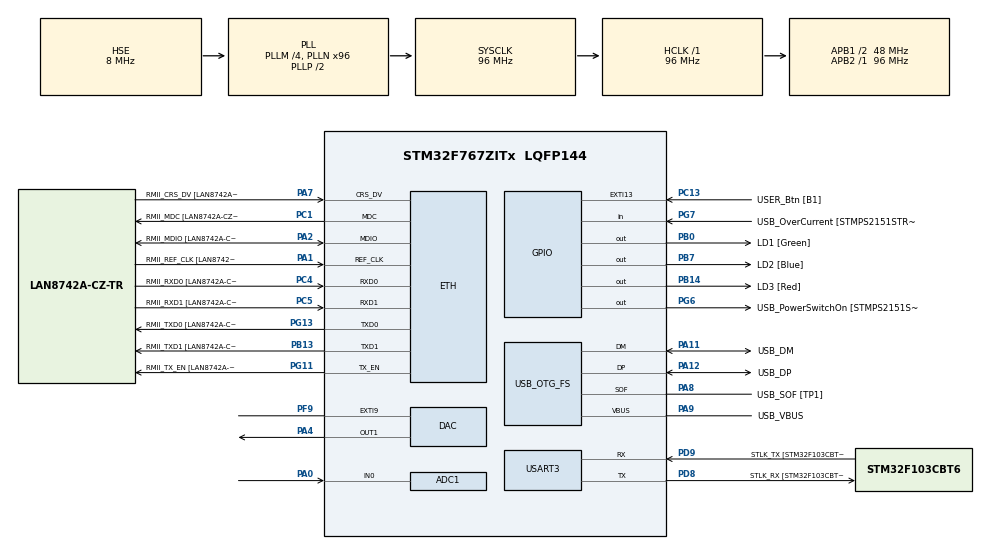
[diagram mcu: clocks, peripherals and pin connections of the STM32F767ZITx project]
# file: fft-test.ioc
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ADC1.Channel-0\#ChannelRegularConversion=ADC_CHANNEL_0
ADC1.ContinuousConvMode=DISABLE
ADC1.DMAContinuousRequests=ENABLE
ADC1.ExternalTrigConv=ADC_EXTERNALTRIGCONV_T2_TRGO
ADC1.InjNumberOfConversion=0
ADC1.NbrOfConversionFlag=1
ADC1.Rank-0\#ChannelRegularConversion=1
ADC1.SamplingTime-0\#ChannelRegularConversion=ADC_SAMPLETIME_3CYCLES
ADC1.ScanConvMode=ADC_SCAN_ENABLE
ADC1.master=1
DAC.DAC_Trigger=DAC_TRIGGER_T2_TRGO
Dma.ADC1.1.Direction=DMA_PERIPH_TO_MEMORY
Dma.ADC1.1.FIFOMode=DMA_FIFOMODE_DISABLE
Dma.ADC1.1.Instance=DMA2_Stream0
Dma.ADC1.1.MemDataAlignment=DMA_MDATAALIGN_HALFWORD
Dma.ADC1.1.MemInc=DMA_MINC_ENABLE
Dma.ADC1.1.Mode=DMA_CIRCULAR
Dma.ADC1.1.PeriphDataAlignment=DMA_PDATAALIGN_HALFWORD
Dma.ADC1.1.PeriphInc=DMA_PINC_DISABLE
Dma.ADC1.1.Priority=DMA_PRIORITY_LOW
Dma.DAC1.0.Direction=DMA_MEMORY_TO_PERIPH
Dma.DAC1.0.FIFOMode=DMA_FIFOMODE_DISABLE
Dma.DAC1.0.Instance=DMA1_Stream5
Dma.DAC1.0.MemDataAlignment=DMA_MDATAALIGN_HALFWORD
Dma.DAC1.0.MemInc=DMA_MINC_ENABLE
Dma.DAC1.0.Mode=DMA_CIRCULAR
Dma.DAC1.0.PeriphDataAlignment=DMA_PDATAALIGN_HALFWORD
Dma.DAC1.0.PeriphInc=DMA_PINC_DISABLE
Dma.DAC1.0.Priority=DMA_PRIORITY_LOW
Dma.Request0=DAC1
Dma.Request1=ADC1
Dma.Request2=USART3_TX
Dma.USART3_TX.2.Direction=DMA_MEMORY_TO_PERIPH
Dma.USART3_TX.2.FIFOMode=DMA_FIFOMODE_DISABLE
Dma.USART3_TX.2.Instance=DMA1_Stream3
Dma.USART3_TX.2.MemDataAlignment=DMA_MDATAALIGN_BYTE
Dma.USART3_TX.2.MemInc=DMA_MINC_ENABLE
Dma.USART3_TX.2.Mode=DMA_NORMAL
Dma.USART3_TX.2.PeriphDataAlignment=DMA_PDATAALIGN_BYTE
Dma.USART3_TX.2.PeriphInc=DMA_PINC_DISABLE
Dma.USART3_TX.2.Priority=DMA_PRIORITY_LOW
ETH.MediaInterface=HAL_ETH_RMII_MODE
ETH.PHY_Name=LAN8742A_PHY_ADDRESS
ETH.PHY_Value=0
ETH.PhyAddress=0
Mcu.Family=STM32F7
Mcu.Name=STM32F767ZITx
Mcu.Package=LQFP144
NVIC.DMA1_Stream3_IRQn=true\:0\:0\:false\:false\:true\:false\:true\:true
NVIC.DMA1_Stream5_IRQn=true\:0\:0\:false\:false\:true\:false\:true\:true
NVIC.DMA2_Stream0_IRQn=true\:0\:0\:false\:false\:true\:false\:true\:true
NVIC.PriorityGroup=NVIC_PRIORITYGROUP_4
NVIC.USART3_IRQn=true\:0\:0\:false\:false\:true\:true\:true\:true
PA0/WKUP.Signal=ADCx_IN0
PA1.GPIO_Label=RMII_REF_CLK [LAN8742A-CZ-TR_REFCLK0]
PA1.Mode=RMII
PA1.Signal=ETH_REF_CLK
PA10.GPIO_Label=USB_ID
PA10.Signal=USB_OTG_FS_ID
PA11.GPIO_Label=USB_DM
PA11.Mode=Device_Only
PA11.Signal=USB_OTG_FS_DM
PA12.GPIO_Label=USB_DP
PA12.Mode=Device_Only
PA12.Signal=USB_OTG_FS_DP
PA13.GPIO_Label=TMS
PA13.Mode=Serial_Wire
PA13.Signal=SYS_JTMS-SWDIO
PA14.GPIO_Label=TCK
PA14.Mode=Serial_Wire
PA14.Signal=SYS_JTCK-SWCLK
PA2.GPIO_Label=RMII_MDIO [LAN8742A-CZ-TR_MDIO]
PA2.Mode=RMII
PA2.Signal=ETH_MDIO
PA4.Signal=COMP_DAC1_group
PA7.GPIO_Label=RMII_CRS_DV [LAN8742A-CZ-TR_CRS_DV]
PA7.Mode=RMII
PA7.Signal=ETH_CRS_DV
PA8.GPIO_Label=USB_SOF [TP1]
PA8.Mode=Activate_SOF_FS
PA8.Signal=USB_OTG_FS_SOF
PA9.GPIO_Label=USB_VBUS
PA9.Mode=Activate_VBUS
PA9.Signal=USB_OTG_FS_VBUS
PB0.GPIO_Label=LD1 [Green]
PB0.Signal=GPIO_Output
PB13.GPIO_Label=RMII_TXD1 [LAN8742A-CZ-TR_TXD1]
PB13.Mode=RMII
PB13.Signal=ETH_TXD1
PB14.GPIO_Label=LD3 [Red]
PB14.Signal=GPIO_Output
PB3.GPIO_Label=SWO
PB3.Signal=SYS_JTDO-SWO
PB7.GPIO_Label=LD2 [Blue]
PB7.Signal=GPIO_Output
PC1.GPIO_Label=RMII_MDC [LAN8742A-CZ-TR_MDC]
PC1.Mode=RMII
PC1.Signal=ETH_MDC
PC13.GPIO_Label=USER_Btn [B1]
PC13.Signal=GPXTI13
PC14/OSC32_IN.Mode=LSE-External-Oscillator
PC14/OSC32_IN.Signal=RCC_OSC32_IN
PC15/OSC32_OUT.Mode=LSE-External-Oscillator
PC15/OSC32_OUT.Signal=RCC_OSC32_OUT
PC4.GPIO_Label=RMII_RXD0 [LAN8742A-CZ-TR_RXD0]
PC4.Mode=RMII
PC4.Signal=ETH_RXD0
PC5.GPIO_Label=RMII_RXD1 [LAN8742A-CZ-TR_RXD1]
PC5.Mode=RMII
PC5.Signal=ETH_RXD1
PD8.GPIO_Label=STLK_RX [STM32F103CBT6_PA3]
PD8.Mode=Asynchronous
PD8.Signal=USART3_TX
PD9.GPIO_Label=STLK_TX [STM32F103CBT6_PA2]
PD9.Mode=Asynchronous
PD9.Signal=USART3_RX
PF9.Signal=GPXTI9
PG11.GPIO_Label=RMII_TX_EN [LAN8742A-CZ-TR_TXEN]
PG11.Mode=RMII
PG11.Signal=ETH_TX_EN
PG13.GPIO_Label=RMII_TXD0 [LAN8742A-CZ-TR_TXD0]
PG13.Mode=RMII
PG13.Signal=ETH_TXD0
PG6.GPIO_Label=USB_PowerSwitchOn [STMPS2151STR_EN]
PG6.Signal=GPIO_Output
PG7.GPIO_Label=USB_OverCurrent [STMPS2151STR_FAULT]
PG7.Signal=GPIO_Input
PH0/OSC_IN.GPIO_Label=MCO [STM32F103CBT6_PA8]
PH0/OSC_IN.Mode=HSE-External-Clock-Source
PH0/OSC_IN.Signal=RCC_OSC_IN
PH1/OSC_OUT.Mode=HSE-External-Clock-Source
PH1/OSC_OUT.Signal=RCC_OSC_OUT
ProjectManager.HeapSize=0x200
ProjectManager.StackSize=0x400
ProjectManager.TargetToolchain=STM32CubeIDE
RCC.48MHZClocksFreq_Value=24000000
RCC.AHBFreq_Value=96000000
RCC.APB1CLKDivider=RCC_HCLK_DIV2
RCC.APB1Freq_Value=48000000
RCC.APB1TimFreq_Value=96000000
RCC.APB2Freq_Value=96000000
RCC.APB2TimFreq_Value=96000000
RCC.CortexFreq_Value=96000000
RCC.HCLKFreq_Value=96000000
RCC.HSE_VALUE=8000000
RCC.HSI_VALUE=16000000
RCC.PLLM=4
RCC.PLLMUL=RCC_PLL_MUL9
RCC.PLLN=96
RCC.PLLQ=4
RCC.PRESCALERUSB=RCC_USBCLKSOURCE_PLL_DIV1_5
RCC.SYSCLKFreq_VALUE=96000000
RCC.SYSCLKSource=RCC_SYSCLKSOURCE_PLLCLK
RCC.SYSCLKSourceVirtual=RCC_SYSCLKSOURCE_PLLCLK
RCC.USBFreq_Value=48000000
RCC.VCOOutputFreq_Value=192000000
SH.ADCx_IN0.0=ADC1_IN0,IN0
SH.COMP_DAC1_group.0=DAC_OUT1,DAC_OUT1
TIM2.Period=23
TIM2.Prescaler=99
TIM2.TIM_MasterOutputTrigger=TIM_TRGO_UPDATE
USART3.VirtualMode-Asynchronous=VM_ASYNC
USB_OTG_FS.VirtualMode=Device_Only
VP_TIM2_VS_ClockSourceINT.Mode=Internal
board=NUCLEO-F767ZI

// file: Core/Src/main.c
/* USER CODE BEGIN Header */
/**
  ******************************************************************************
  * @file           : main.c
  * @brief          : Main program body
  ******************************************************************************
  * @attention
  *
  * Copyright (c) 2025 STMicroelectronics.
  * All rights reserved.
  *
  * This software is licensed under terms that can be found in the LICENSE file
  * in the root directory of this software component.
  * If no LICENSE file comes with this software, it is provided AS-IS.
  *
  ******************************************************************************
  */
/* USER CODE END Header */
#include "main.h"
#include "string.h"

/* USER CODE BEGIN Includes */
#include "app_config.h"
#include "globals.h"

#ifdef MODE_RFFT
#include "mode_rfft.h"
#endif
#ifdef MODE_CFFT
#include "mode_cfft.h"
#endif
#ifdef MODE_CEPSTRUM
#include "mode_cepstrum.h"
#endif
#ifdef MODE_HILBERT
#include "mode_hilbert.h"
#endif
/* USER CODE END Includes */

/* USER CODE BEGIN PM */
#define PUTCHAR_PROTOTYPE int __io_putchar(int ch)
/* USER CODE END PM */

#if defined ( __ICCARM__ ) /*!< IAR Compiler */
#pragma location=0x2007c000
ETH_DMADescTypeDef  DMARxDscrTab[ETH_RX_DESC_CNT]; /* Ethernet Rx DMA Descriptors */
#pragma location=0x2007c0a0
ETH_DMADescTypeDef  DMATxDscrTab[ETH_TX_DESC_CNT]; /* Ethernet Tx DMA Descriptors */

#elif defined ( __CC_ARM )  /* MDK ARM Compiler */

__attribute__((at(0x2007c000))) ETH_DMADescTypeDef  DMARxDscrTab[ETH_RX_DESC_CNT]; /* Ethernet Rx DMA Descriptors */
__attribute__((at(0x2007c0a0))) ETH_DMADescTypeDef  DMATxDscrTab[ETH_TX_DESC_CNT]; /* Ethernet Tx DMA Descriptors */

#elif defined ( __GNUC__ ) /* GNU Compiler */

ETH_DMADescTypeDef DMARxDscrTab[ETH_RX_DESC_CNT] __attribute__((section(".RxDecripSection"))); /* Ethernet Rx DMA Descriptors */
ETH_DMADescTypeDef DMATxDscrTab[ETH_TX_DESC_CNT] __attribute__((section(".TxDecripSection")));   /* Ethernet Tx DMA Descriptors */
#endif

ETH_TxPacketConfig TxConfig;

ADC_HandleTypeDef hadc1;
DMA_HandleTypeDef hdma_adc1;

DAC_HandleTypeDef hdac;
DMA_HandleTypeDef hdma_dac1;

ETH_HandleTypeDef heth;

TIM_HandleTypeDef htim2;

UART_HandleTypeDef huart3;
DMA_HandleTypeDef hdma_usart3_tx;

PCD_HandleTypeDef hpcd_USB_OTG_FS;

void SystemClock_Config(void);
static void MX_GPIO_Init(void);
static void MX_DMA_Init(void);
static void MX_ETH_Init(void);
static void MX_USART3_UART_Init(void);
static void MX_USB_OTG_FS_PCD_Init(void);
static void MX_DAC_Init(void);
static void MX_ADC1_Init(void);
static void MX_TIM2_Init(void);
/* USER CODE BEGIN PFP */
PUTCHAR_PROTOTYPE
{
  HAL_UART_Transmit(&huart3, (uint8_t *)&ch, 1, HAL_MAX_DELAY);
  return ch;
}
/* USER CODE END PFP */

int main(void)
{

  /* MCU Configuration--------------------------------------------------------*/

  /* Reset of all peripherals, Initializes the Flash interface and the Systick. */
  HAL_Init();

  /* Configure the system clock */
  SystemClock_Config();

  /* Initialize all configured peripherals */
  MX_GPIO_Init();
  MX_DMA_Init();
  MX_ETH_Init();
  MX_USART3_UART_Init();
  MX_USB_OTG_FS_PCD_Init();
  MX_DAC_Init();
  MX_ADC1_Init();
  MX_TIM2_Init();
  /* USER CODE BEGIN 2 */

#ifdef MODE_RFFT
  RFFT_Init();
#endif
#ifdef MODE_CFFT
  CFFT_Init();
#endif
#ifdef MODE_CEPSTRUM
  Cepstrum_Init();
#endif
#ifdef MODE_HILBERT
  Hilbert_Init();
#endif

  /* USER CODE END 2 */

  /* Infinite loop */
  while (1)
  {

  }
}

void SystemClock_Config(void)
{
  RCC_OscInitTypeDef RCC_OscInitStruct = {0};
  RCC_ClkInitTypeDef RCC_ClkInitStruct = {0};

  /** Configure LSE Drive Capability
  */
  HAL_PWR_EnableBkUpAccess();

  /** Configure the main internal regulator output voltage
  */
  __HAL_RCC_PWR_CLK_ENABLE();
  __HAL_PWR_VOLTAGESCALING_CONFIG(PWR_REGULATOR_VOLTAGE_SCALE3);

  /** Initializes the RCC Oscillators according to the specified parameters
  * in the RCC_OscInitTypeDef structure.
  */
  RCC_OscInitStruct.OscillatorType = RCC_OSCILLATORTYPE_HSE;
  RCC_OscInitStruct.HSEState = RCC_HSE_BYPASS;
  RCC_OscInitStruct.PLL.PLLState = RCC_PLL_ON;
  RCC_OscInitStruct.PLL.PLLSource = RCC_PLLSOURCE_HSE;
  RCC_OscInitStruct.PLL.PLLM = 4;
  RCC_OscInitStruct.PLL.PLLN = 96;
  RCC_OscInitStruct.PLL.PLLP = RCC_PLLP_DIV2;
  RCC_OscInitStruct.PLL.PLLQ = 4;
  RCC_OscInitStruct.PLL.PLLR = 2;
  if (HAL_RCC_OscConfig(&RCC_OscInitStruct) != HAL_OK)
  {
    Error_Handler();
  }

  /** Activate the Over-Drive mode
  */
  if (HAL_PWREx_EnableOverDrive() != HAL_OK)
  {
    Error_Handler();
  }

  /** Initializes the CPU, AHB and APB buses clocks
  */
  RCC_ClkInitStruct.ClockType = RCC_CLOCKTYPE_HCLK|RCC_CLOCKTYPE_SYSCLK
                              |RCC_CLOCKTYPE_PCLK1|RCC_CLOCKTYPE_PCLK2;
  RCC_ClkInitStruct.SYSCLKSource = RCC_SYSCLKSOURCE_PLLCLK;
  RCC_ClkInitStruct.AHBCLKDivider = RCC_SYSCLK_DIV1;
  RCC_ClkInitStruct.APB1CLKDivider = RCC_HCLK_DIV2;
  RCC_ClkInitStruct.APB2CLKDivider = RCC_HCLK_DIV1;

  if (HAL_RCC_ClockConfig(&RCC_ClkInitStruct, FLASH_LATENCY_3) != HAL_OK)
  {
    Error_Handler();
  }
}

static void MX_ADC1_Init(void)
{

  ADC_ChannelConfTypeDef sConfig = {0};

  /** Configure the global features of the ADC (Clock, Resolution, Data Alignment and number of conversion)
  */
  hadc1.Instance = ADC1;
  hadc1.Init.ClockPrescaler = ADC_CLOCK_SYNC_PCLK_DIV4;
  hadc1.Init.Resolution = ADC_RESOLUTION_12B;
  hadc1.Init.ScanConvMode = ADC_SCAN_ENABLE;
  hadc1.Init.ContinuousConvMode = DISABLE;
  hadc1.Init.DiscontinuousConvMode = DISABLE;
  hadc1.Init.ExternalTrigConvEdge = ADC_EXTERNALTRIGCONVEDGE_RISING;
  hadc1.Init.ExternalTrigConv = ADC_EXTERNALTRIGCONV_T2_TRGO;
  hadc1.Init.DataAlign = ADC_DATAALIGN_RIGHT;
  hadc1.Init.NbrOfConversion = 1;
  hadc1.Init.DMAContinuousRequests = ENABLE;
  hadc1.Init.EOCSelection = ADC_EOC_SINGLE_CONV;
  if (HAL_ADC_Init(&hadc1) != HAL_OK)
  {
    Error_Handler();
  }

  /** Configure for the selected ADC regular channel its corresponding rank in the sequencer and its sample time.
  */
  sConfig.Channel = ADC_CHANNEL_0;
  sConfig.Rank = ADC_REGULAR_RANK_1;
  sConfig.SamplingTime = ADC_SAMPLETIME_3CYCLES;
  if (HAL_ADC_ConfigChannel(&hadc1, &sConfig) != HAL_OK)
  {
    Error_Handler();
  }

}

static void MX_DAC_Init(void)
{

  DAC_ChannelConfTypeDef sConfig = {0};

  /** DAC Initialization
  */
  hdac.Instance = DAC;
  if (HAL_DAC_Init(&hdac) != HAL_OK)
  {
    Error_Handler();
  }

  /** DAC channel OUT1 config
  */
  sConfig.DAC_Trigger = DAC_TRIGGER_T2_TRGO;
  sConfig.DAC_OutputBuffer = DAC_OUTPUTBUFFER_ENABLE;
  if (HAL_DAC_ConfigChannel(&hdac, &sConfig, DAC_CHANNEL_1) != HAL_OK)
  {
    Error_Handler();
  }

}

static void MX_ETH_Init(void)
{

   static uint8_t MACAddr[6];

  heth.Instance = ETH;
  MACAddr[0] = 0x00;
  MACAddr[1] = 0x80;
  MACAddr[2] = 0xE1;
  MACAddr[3] = 0x00;
  MACAddr[4] = 0x00;
  MACAddr[5] = 0x00;
  heth.Init.MACAddr = &MACAddr[0];
  heth.Init.MediaInterface = HAL_ETH_RMII_MODE;
  heth.Init.TxDesc = DMATxDscrTab;
  heth.Init.RxDesc = DMARxDscrTab;
  heth.Init.RxBuffLen = 1524;

  if (HAL_ETH_Init(&heth) != HAL_OK)
  {
    Error_Handler();
  }

  memset(&TxConfig, 0 , sizeof(ETH_TxPacketConfig));
  TxConfig.Attributes = ETH_TX_PACKETS_FEATURES_CSUM | ETH_TX_PACKETS_FEATURES_CRCPAD;
  TxConfig.ChecksumCtrl = ETH_CHECKSUM_IPHDR_PAYLOAD_INSERT_PHDR_CALC;
  TxConfig.CRCPadCtrl = ETH_CRC_PAD_INSERT;

}

static void MX_TIM2_Init(void)
{

  TIM_ClockConfigTypeDef sClockSourceConfig = {0};
  TIM_MasterConfigTypeDef sMasterConfig = {0};

  htim2.Instance = TIM2;
  htim2.Init.Prescaler = 99;
  htim2.Init.CounterMode = TIM_COUNTERMODE_UP;
  htim2.Init.Period = 23;
  htim2.Init.ClockDivision = TIM_CLOCKDIVISION_DIV1;
  htim2.Init.AutoReloadPreload = TIM_AUTORELOAD_PRELOAD_DISABLE;
  if (HAL_TIM_Base_Init(&htim2) != HAL_OK)
  {
    Error_Handler();
  }
  sClockSourceConfig.ClockSource = TIM_CLOCKSOURCE_INTERNAL;
  if (HAL_TIM_ConfigClockSource(&htim2, &sClockSourceConfig) != HAL_OK)
  {
    Error_Handler();
  }
  sMasterConfig.MasterOutputTrigger = TIM_TRGO_UPDATE;
  sMasterConfig.MasterSlaveMode = TIM_MASTERSLAVEMODE_DISABLE;
  if (HAL_TIMEx_MasterConfigSynchronization(&htim2, &sMasterConfig) != HAL_OK)
  {
    Error_Handler();
  }

}

static void MX_USART3_UART_Init(void)
{

  huart3.Instance = USART3;
  huart3.Init.BaudRate = 115200;
  huart3.Init.WordLength = UART_WORDLENGTH_8B;
  huart3.Init.StopBits = UART_STOPBITS_1;
  huart3.Init.Parity = UART_PARITY_NONE;
  huart3.Init.Mode = UART_MODE_TX_RX;
  huart3.Init.HwFlowCtl = UART_HWCONTROL_NONE;
  huart3.Init.OverSampling = UART_OVERSAMPLING_16;
  huart3.Init.OneBitSampling = UART_ONE_BIT_SAMPLE_DISABLE;
  huart3.AdvancedInit.AdvFeatureInit = UART_ADVFEATURE_NO_INIT;
  if (HAL_UART_Init(&huart3) != HAL_OK)
  {
    Error_Handler();
  }

}

static void MX_USB_OTG_FS_PCD_Init(void)
{

  hpcd_USB_OTG_FS.Instance = USB_OTG_FS;
  hpcd_USB_OTG_FS.Init.dev_endpoints = 6;
  hpcd_USB_OTG_FS.Init.speed = PCD_SPEED_FULL;
  hpcd_USB_OTG_FS.Init.dma_enable = DISABLE;
  hpcd_USB_OTG_FS.Init.phy_itface = PCD_PHY_EMBEDDED;
  hpcd_USB_OTG_FS.Init.Sof_enable = ENABLE;
  hpcd_USB_OTG_FS.Init.low_power_enable = DISABLE;
  hpcd_USB_OTG_FS.Init.lpm_enable = DISABLE;
  hpcd_USB_OTG_FS.Init.vbus_sensing_enable = ENABLE;
  hpcd_USB_OTG_FS.Init.use_dedicated_ep1 = DISABLE;
  if (HAL_PCD_Init(&hpcd_USB_OTG_FS) != HAL_OK)
  {
    Error_Handler();
  }

}

static void MX_DMA_Init(void)
{

  /* DMA controller clock enable */
  __HAL_RCC_DMA1_CLK_ENABLE();
  __HAL_RCC_DMA2_CLK_ENABLE();

  /* DMA interrupt init */
  /* DMA1_Stream3_IRQn interrupt configuration */
  HAL_NVIC_SetPriority(DMA1_Stream3_IRQn, 0, 0);
  HAL_NVIC_EnableIRQ(DMA1_Stream3_IRQn);
  /* DMA1_Stream5_IRQn interrupt configuration */
  HAL_NVIC_SetPriority(DMA1_Stream5_IRQn, 0, 0);
  HAL_NVIC_EnableIRQ(DMA1_Stream5_IRQn);
  /* DMA2_Stream0_IRQn interrupt configuration */
  HAL_NVIC_SetPriority(DMA2_Stream0_IRQn, 0, 0);
  HAL_NVIC_EnableIRQ(DMA2_Stream0_IRQn);

}

static void MX_GPIO_Init(void)
{
  GPIO_InitTypeDef GPIO_InitStruct = {0};

  /* GPIO Ports Clock Enable */
  __HAL_RCC_GPIOC_CLK_ENABLE();
  __HAL_RCC_GPIOF_CLK_ENABLE();
  __HAL_RCC_GPIOH_CLK_ENABLE();
  __HAL_RCC_GPIOA_CLK_ENABLE();
  __HAL_RCC_GPIOB_CLK_ENABLE();
  __HAL_RCC_GPIOD_CLK_ENABLE();
  __HAL_RCC_GPIOG_CLK_ENABLE();

  /*Configure GPIO pin Output Level */
  HAL_GPIO_WritePin(GPIOB, LD1_Pin|LD3_Pin|LD2_Pin, GPIO_PIN_RESET);

  /*Configure GPIO pin Output Level */
  HAL_GPIO_WritePin(USB_PowerSwitchOn_GPIO_Port, USB_PowerSwitchOn_Pin, GPIO_PIN_RESET);

  /*Configure GPIO pin : USER_Btn_Pin */
  GPIO_InitStruct.Pin = USER_Btn_Pin;
  GPIO_InitStruct.Mode = GPIO_MODE_IT_RISING;
  GPIO_InitStruct.Pull = GPIO_NOPULL;
  HAL_GPIO_Init(USER_Btn_GPIO_Port, &GPIO_InitStruct);

  /*Configure GPIO pin : PF9 */
  GPIO_InitStruct.Pin = GPIO_PIN_9;
  GPIO_InitStruct.Mode = GPIO_MODE_IT_RISING;
  GPIO_InitStruct.Pull = GPIO_NOPULL;
  HAL_GPIO_Init(GPIOF, &GPIO_InitStruct);

  /*Configure GPIO pins : LD1_Pin LD3_Pin LD2_Pin */
  GPIO_InitStruct.Pin = LD1_Pin|LD3_Pin|LD2_Pin;
  GPIO_InitStruct.Mode = GPIO_MODE_OUTPUT_PP;
  GPIO_InitStruct.Pull = GPIO_NOPULL;
  GPIO_InitStruct.Speed = GPIO_SPEED_FREQ_LOW;
  HAL_GPIO_Init(GPIOB, &GPIO_InitStruct);

  /*Configure GPIO pin : USB_PowerSwitchOn_Pin */
  GPIO_InitStruct.Pin = USB_PowerSwitchOn_Pin;
  GPIO_InitStruct.Mode = GPIO_MODE_OUTPUT_PP;
  GPIO_InitStruct.Pull = GPIO_NOPULL;
  GPIO_InitStruct.Speed = GPIO_SPEED_FREQ_LOW;
  HAL_GPIO_Init(USB_PowerSwitchOn_GPIO_Port, &GPIO_InitStruct);

  /*Configure GPIO pin : USB_OverCurrent_Pin */
  GPIO_InitStruct.Pin = USB_OverCurrent_Pin;
  GPIO_InitStruct.Mode = GPIO_MODE_INPUT;
  GPIO_InitStruct.Pull = GPIO_NOPULL;
  HAL_GPIO_Init(USB_OverCurrent_GPIO_Port, &GPIO_InitStruct);

}

void Error_Handler(void)
{
  __disable_irq();
  while (1)
  {
  }
}
